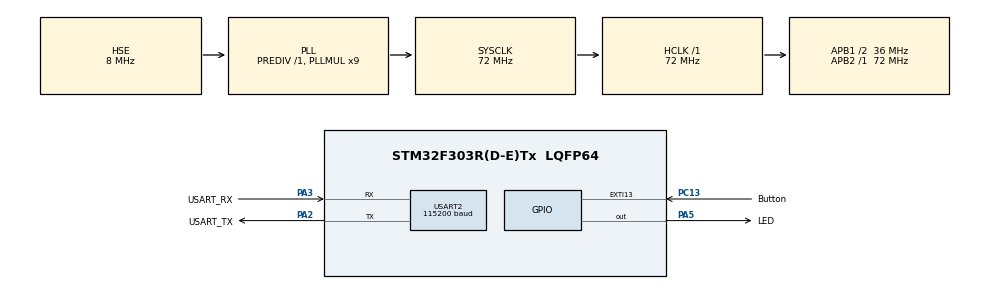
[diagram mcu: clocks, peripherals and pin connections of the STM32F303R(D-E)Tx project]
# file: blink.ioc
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Mcu.Family=STM32F3
Mcu.Name=STM32F303R(D-E)Tx
Mcu.Package=LQFP64
NVIC.EXTI15_10_IRQn=true\:0\:0\:false\:false\:true\:true\:true\:true
NVIC.PriorityGroup=NVIC_PRIORITYGROUP_0
PA13.GPIO_Label=TMS
PA13.Mode=Serial_Wire
PA13.Signal=SYS_JTMS-SWDIO
PA14.GPIO_Label=TCK
PA14.Mode=Serial_Wire
PA14.Signal=SYS_JTCK-SWCLK
PA2.GPIO_Label=USART_TX
PA2.GPIO_Mode=GPIO_MODE_AF_PP
PA2.GPIO_PuPd=GPIO_NOPULL
PA2.GPIO_Speed=GPIO_SPEED_FREQ_LOW
PA2.Mode=Asynchronous
PA2.Signal=USART2_TX
PA3.GPIO_Label=USART_RX
PA3.GPIO_Mode=GPIO_MODE_AF_PP
PA3.GPIO_PuPd=GPIO_NOPULL
PA3.GPIO_Speed=GPIO_SPEED_FREQ_LOW
PA3.Mode=Asynchronous
PA3.Signal=USART2_RX
PA5.GPIO_Label=LED
PA5.GPIO_Mode=GPIO_MODE_OUTPUT_PP
PA5.GPIO_PuPd=GPIO_NOPULL
PA5.GPIO_Speed=GPIO_SPEED_FREQ_LOW
PA5.Signal=GPIO_Output
PB3.GPIO_Label=SWO
PB3.Signal=SYS_JTDO-TRACESWO
PC13.GPIO_Label=Button
PC13.GPIO_ModeDefaultEXTI=GPIO_MODE_IT_RISING
PC13.GPIO_PuPd=GPIO_PULLUP
PC13.Signal=GPXTI13
PF0-OSC_IN.Mode=HSE-External-Oscillator
PF0-OSC_IN.Signal=RCC_OSC_IN
PF1-OSC_OUT.Mode=HSE-External-Oscillator
PF1-OSC_OUT.Signal=RCC_OSC_OUT
ProjectManager.HeapSize=0x200
ProjectManager.StackSize=0x400
ProjectManager.TargetToolchain=STM32CubeIDE
RCC.AHBFreq_Value=72000000
RCC.APB1CLKDivider=RCC_HCLK_DIV2
RCC.APB1Freq_Value=36000000
RCC.APB1TimFreq_Value=72000000
RCC.APB2Freq_Value=72000000
RCC.APB2TimFreq_Value=72000000
RCC.CortexFreq_Value=72000000
RCC.HCLKFreq_Value=72000000
RCC.HSE_VALUE=8000000
RCC.HSI_VALUE=8000000
RCC.LSE_VALUE=32768
RCC.PLLM=8
RCC.PLLMUL=RCC_PLL_MUL9
RCC.PLLN=336
RCC.PLLP=RCC_PLLP_DIV4
RCC.PLLQ=7
RCC.PLLSourceVirtual=RCC_PLLSOURCE_HSE
RCC.RCC_PLLsource_Clock_Source_FROM_HSE=RCC_HSE_PREDIV_DIV2
RCC.SYSCLKFreq_VALUE=72000000
RCC.SYSCLKSourceVirtual=RCC_SYSCLKSOURCE_PLLCLK
RCC.USBFreq_Value=72000000
USART2.BaudRate=115200
USART2.VirtualMode-Asynchronous=VM_ASYNC
board=NUCLEO-F303RE

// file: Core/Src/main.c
/* USER CODE BEGIN Header */
/**
  ******************************************************************************
  * @file           : main.c
  * @brief          : Main program body
  ******************************************************************************
  * @attention
  *
  * Copyright (c) 2025 STMicroelectronics.
  * All rights reserved.
  *
  * This software is licensed under terms that can be found in the LICENSE file
  * in the root directory of this software component.
  * If no LICENSE file comes with this software, it is provided AS-IS.
  *
  ******************************************************************************
  */
/* USER CODE END Header */
#include "main.h"

/* USER CODE BEGIN Includes */
#include <stdio.h>
/* USER CODE END Includes */

UART_HandleTypeDef huart2;

/* USER CODE BEGIN PV */

uint8_t button_press = 0;
uint8_t blink_delay_state = 4;
uint16_t blink_delays[] = {100, 200, 300, 400, 500};

/* USER CODE END PV */

void SystemClock_Config(void);
static void MX_GPIO_Init(void);
static void MX_USART2_UART_Init(void);

/* USER CODE BEGIN 0 */

int _write(int fd, char *ptr, size_t len) {
    HAL_UART_StateTypeDef hstate;

    if (fd == 1 || fd == 2) {
        hstate = HAL_UART_Transmit(&huart2, (uint8_t *)ptr, len, HAL_MAX_DELAY);
        if (hstate == HAL_OK) {
            return len;
        }
    }
    return -1;
}

void HAL_GPIO_EXTI_Callback(uint16_t GPIO_Pin) {
    if (GPIO_Pin == Button_Pin) {
        button_press = 1;
    }
}

/* USER CODE END 0 */

int main(void)
{

  /* MCU Configuration--------------------------------------------------------*/

  /* Reset of all peripherals, Initializes the Flash interface and the Systick. */
  HAL_Init();

  /* Configure the system clock */
  SystemClock_Config();

  /* Initialize all configured peripherals */
  MX_GPIO_Init();
  MX_USART2_UART_Init();
  /* USER CODE BEGIN 2 */

  printf("Blink application starting\n");

  uint32_t now = 0, last_blink = 0, last_tick = 0;
  uint32_t loop_cnt = 0;

  /* USER CODE END 2 */

  /* Infinite loop */
  /* USER CODE BEGIN WHILE */
  while (1)
  {
	  now = HAL_GetTick();
	  if (now - last_blink >= blink_delays[blink_delay_state]) {
		printf("Toggling GPIO\n");
		HAL_GPIO_TogglePin(LED_GPIO_Port, LED_Pin);
		last_blink = now;
	  }

	  if (now - last_tick >= 1000) {
		printf("Tick %lu (loop count %lu)\n", now/1000, loop_cnt);
		loop_cnt = 0;
		last_tick = now;
	  }

	  if (button_press == 1) {
		printf("Button pressed\n");

		blink_delay_state = (blink_delay_state+1)%(sizeof(blink_delays)/sizeof(blink_delays[0]));
		printf("Delay state: %d\n", blink_delay_state);
		button_press = 0;
	  }
	  ++loop_cnt;
    /* USER CODE END WHILE */

  }
}

void SystemClock_Config(void)
{
  RCC_OscInitTypeDef RCC_OscInitStruct = {0};
  RCC_ClkInitTypeDef RCC_ClkInitStruct = {0};
  RCC_PeriphCLKInitTypeDef PeriphClkInit = {0};

  /** Initializes the RCC Oscillators according to the specified parameters
  * in the RCC_OscInitTypeDef structure.
  */
  RCC_OscInitStruct.OscillatorType = RCC_OSCILLATORTYPE_HSE;
  RCC_OscInitStruct.HSEState = RCC_HSE_ON;
  RCC_OscInitStruct.HSIState = RCC_HSI_ON;
  RCC_OscInitStruct.PLL.PLLState = RCC_PLL_ON;
  RCC_OscInitStruct.PLL.PLLSource = RCC_PLLSOURCE_HSE;
  RCC_OscInitStruct.PLL.PLLMUL = RCC_PLL_MUL9;
  RCC_OscInitStruct.PLL.PREDIV = RCC_PREDIV_DIV1;
  if (HAL_RCC_OscConfig(&RCC_OscInitStruct) != HAL_OK)
  {
    Error_Handler();
  }

  /** Initializes the CPU, AHB and APB buses clocks
  */
  RCC_ClkInitStruct.ClockType = RCC_CLOCKTYPE_HCLK|RCC_CLOCKTYPE_SYSCLK
                              |RCC_CLOCKTYPE_PCLK1|RCC_CLOCKTYPE_PCLK2;
  RCC_ClkInitStruct.SYSCLKSource = RCC_SYSCLKSOURCE_PLLCLK;
  RCC_ClkInitStruct.AHBCLKDivider = RCC_SYSCLK_DIV1;
  RCC_ClkInitStruct.APB1CLKDivider = RCC_HCLK_DIV2;
  RCC_ClkInitStruct.APB2CLKDivider = RCC_HCLK_DIV1;

  if (HAL_RCC_ClockConfig(&RCC_ClkInitStruct, FLASH_LATENCY_2) != HAL_OK)
  {
    Error_Handler();
  }
  PeriphClkInit.PeriphClockSelection = RCC_PERIPHCLK_USART2;
  PeriphClkInit.Usart2ClockSelection = RCC_USART2CLKSOURCE_PCLK1;
  if (HAL_RCCEx_PeriphCLKConfig(&PeriphClkInit) != HAL_OK)
  {
    Error_Handler();
  }
}

static void MX_USART2_UART_Init(void)
{

  huart2.Instance = USART2;
  huart2.Init.BaudRate = 115200;
  huart2.Init.WordLength = UART_WORDLENGTH_8B;
  huart2.Init.StopBits = UART_STOPBITS_1;
  huart2.Init.Parity = UART_PARITY_NONE;
  huart2.Init.Mode = UART_MODE_TX_RX;
  huart2.Init.HwFlowCtl = UART_HWCONTROL_NONE;
  huart2.Init.OverSampling = UART_OVERSAMPLING_16;
  huart2.Init.OneBitSampling = UART_ONE_BIT_SAMPLE_DISABLE;
  huart2.AdvancedInit.AdvFeatureInit = UART_ADVFEATURE_NO_INIT;
  if (HAL_UART_Init(&huart2) != HAL_OK)
  {
    Error_Handler();
  }

}

static void MX_GPIO_Init(void)
{
  GPIO_InitTypeDef GPIO_InitStruct = {0};

  /* GPIO Ports Clock Enable */
  __HAL_RCC_GPIOC_CLK_ENABLE();
  __HAL_RCC_GPIOF_CLK_ENABLE();
  __HAL_RCC_GPIOA_CLK_ENABLE();
  __HAL_RCC_GPIOB_CLK_ENABLE();

  /*Configure GPIO pin Output Level */
  HAL_GPIO_WritePin(LED_GPIO_Port, LED_Pin, GPIO_PIN_RESET);

  /*Configure GPIO pin : Button_Pin */
  GPIO_InitStruct.Pin = Button_Pin;
  GPIO_InitStruct.Mode = GPIO_MODE_IT_RISING;
  GPIO_InitStruct.Pull = GPIO_PULLUP;
  HAL_GPIO_Init(Button_GPIO_Port, &GPIO_InitStruct);

  /*Configure GPIO pin : LED_Pin */
  GPIO_InitStruct.Pin = LED_Pin;
  GPIO_InitStruct.Mode = GPIO_MODE_OUTPUT_PP;
  GPIO_InitStruct.Pull = GPIO_NOPULL;
  GPIO_InitStruct.Speed = GPIO_SPEED_FREQ_LOW;
  HAL_GPIO_Init(LED_GPIO_Port, &GPIO_InitStruct);

  /* EXTI interrupt init*/
  HAL_NVIC_SetPriority(EXTI15_10_IRQn, 0, 0);
  HAL_NVIC_EnableIRQ(EXTI15_10_IRQn);

}

void Error_Handler(void)
{
  __disable_irq();
  while (1)
  {
  }
}
